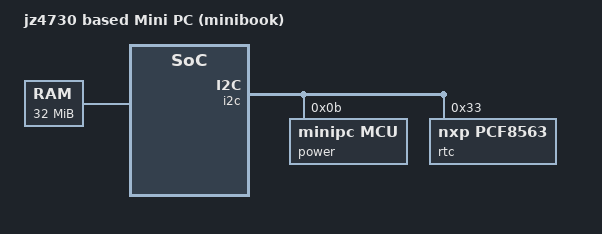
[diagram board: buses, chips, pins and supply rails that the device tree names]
/dts-v1/;

#include "jz4730.dtsi"

/ {
	compatible = "letux,400";
	model = "jz4730 based Mini PC (minibook)";

	chosen {
		stdout-path = &uart0;
		bootargs = "console=ttyS0,57600";

	};

	memory@0 {
		device_type = "memory";
		reg = <0x0 0x2000000>;
	};

	// backlight
	// lcd
	// mouse
	// ethernet
	// gpios

	// gpio keyboard driver and matrix
};

&ext {
	clock-frequency = <12000000>;
};

&i2c {
	power@11 {
		compatible = "minipc,mcu";
		reg = <11>;
	};

	rtc@51 {
		compatible = "nxp,pcf8563";
		reg = <51>;
	};
};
